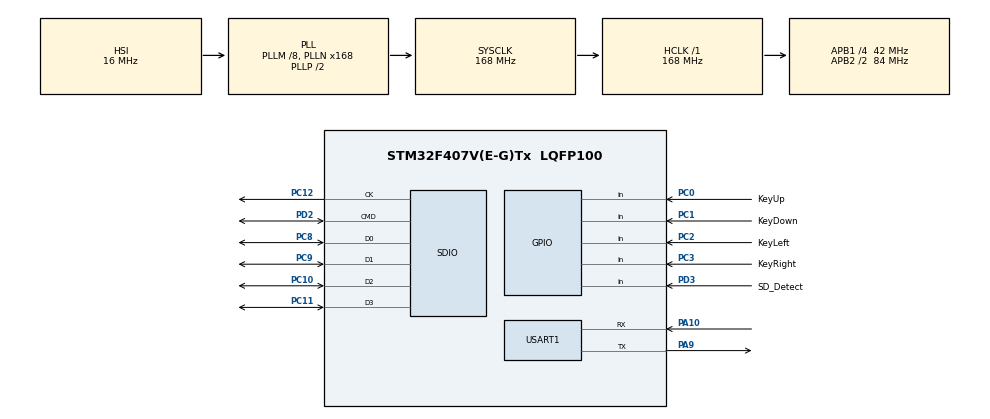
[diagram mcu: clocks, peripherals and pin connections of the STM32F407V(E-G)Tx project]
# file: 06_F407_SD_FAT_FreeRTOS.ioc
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Dma.Request0=SDIO_RX
Dma.Request1=SDIO_TX
Dma.SDIO_RX.0.Direction=DMA_PERIPH_TO_MEMORY
Dma.SDIO_RX.0.FIFOMode=DMA_FIFOMODE_ENABLE
Dma.SDIO_RX.0.FIFOThreshold=DMA_FIFO_THRESHOLD_FULL
Dma.SDIO_RX.0.Instance=DMA2_Stream3
Dma.SDIO_RX.0.MemBurst=DMA_MBURST_INC4
Dma.SDIO_RX.0.MemDataAlignment=DMA_MDATAALIGN_WORD
Dma.SDIO_RX.0.MemInc=DMA_MINC_ENABLE
Dma.SDIO_RX.0.Mode=DMA_PFCTRL
Dma.SDIO_RX.0.PeriphBurst=DMA_PBURST_INC4
Dma.SDIO_RX.0.PeriphDataAlignment=DMA_PDATAALIGN_WORD
Dma.SDIO_RX.0.PeriphInc=DMA_PINC_DISABLE
Dma.SDIO_RX.0.Priority=DMA_PRIORITY_LOW
Dma.SDIO_TX.1.Direction=DMA_MEMORY_TO_PERIPH
Dma.SDIO_TX.1.FIFOMode=DMA_FIFOMODE_ENABLE
Dma.SDIO_TX.1.FIFOThreshold=DMA_FIFO_THRESHOLD_FULL
Dma.SDIO_TX.1.Instance=DMA2_Stream6
Dma.SDIO_TX.1.MemBurst=DMA_MBURST_INC4
Dma.SDIO_TX.1.MemDataAlignment=DMA_MDATAALIGN_WORD
Dma.SDIO_TX.1.MemInc=DMA_MINC_ENABLE
Dma.SDIO_TX.1.Mode=DMA_PFCTRL
Dma.SDIO_TX.1.PeriphBurst=DMA_PBURST_INC4
Dma.SDIO_TX.1.PeriphDataAlignment=DMA_PDATAALIGN_WORD
Dma.SDIO_TX.1.PeriphInc=DMA_PINC_DISABLE
Dma.SDIO_TX.1.Priority=DMA_PRIORITY_LOW
FATFS._CODE_PAGE=936
FATFS._USE_LFN=3
FATFS._USE_MUTEX=1
FREERTOS.Tasks01=TaskMain,24,1024,APP_TaskMain,Default,NULL,Dynamic,NULL,NULL
Mcu.Family=STM32F4
Mcu.Name=STM32F407V(E-G)Tx
Mcu.Package=LQFP100
NVIC.DMA2_Stream3_IRQn=true\:6\:0\:true\:false\:true\:true\:false\:true\:true
NVIC.DMA2_Stream6_IRQn=true\:6\:0\:true\:false\:true\:true\:false\:true\:true
NVIC.PriorityGroup=NVIC_PRIORITYGROUP_4
NVIC.SDIO_IRQn=true\:5\:0\:false\:false\:true\:true\:true\:true\:true
NVIC.TIM6_DAC_IRQn=true\:15\:0\:false\:false\:true\:false\:false\:true\:true
NVIC.TimeBase=TIM6_DAC_IRQn
NVIC.TimeBaseIP=TIM6
PA10.Mode=Asynchronous
PA10.Signal=USART1_RX
PA13.Mode=Serial_Wire
PA13.Signal=SYS_JTMS-SWDIO
PA14.Mode=Serial_Wire
PA14.Signal=SYS_JTCK-SWCLK
PA9.Mode=Asynchronous
PA9.Signal=USART1_TX
PC0.GPIO_Label=KeyUp
PC0.GPIO_PuPd=GPIO_PULLUP
PC0.Signal=GPIO_Input
PC1.GPIO_Label=KeyDown
PC1.GPIO_PuPd=GPIO_PULLUP
PC1.Signal=GPIO_Input
PC10.Mode=SD_4_bits_Wide_bus
PC10.Signal=SDIO_D2
PC11.Mode=SD_4_bits_Wide_bus
PC11.Signal=SDIO_D3
PC12.Mode=SD_4_bits_Wide_bus
PC12.Signal=SDIO_CK
PC14-OSC32_IN.Mode=LSE-External-Oscillator
PC14-OSC32_IN.Signal=RCC_OSC32_IN
PC15-OSC32_OUT.Mode=LSE-External-Oscillator
PC15-OSC32_OUT.Signal=RCC_OSC32_OUT
PC2.GPIO_Label=KeyLeft
PC2.GPIO_PuPd=GPIO_PULLUP
PC2.Signal=GPIO_Input
PC3.GPIO_Label=KeyRight
PC3.GPIO_PuPd=GPIO_PULLUP
PC3.Signal=GPIO_Input
PC8.Mode=SD_4_bits_Wide_bus
PC8.Signal=SDIO_D0
PC9.Mode=SD_4_bits_Wide_bus
PC9.Signal=SDIO_D1
PD2.Mode=SD_4_bits_Wide_bus
PD2.Signal=SDIO_CMD
PD3.GPIO_Label=SD_Detect
PD3.GPIO_PuPd=GPIO_PULLUP
PD3.Signal=GPIO_Input
PH0-OSC_IN.Mode=HSE-External-Oscillator
PH0-OSC_IN.Signal=RCC_OSC_IN
PH1-OSC_OUT.Mode=HSE-External-Oscillator
PH1-OSC_OUT.Signal=RCC_OSC_OUT
ProjectManager.HeapSize=0x200
ProjectManager.StackSize=0x400
ProjectManager.TargetToolchain=MDK-ARM V5.32
RCC.48MHZClocksFreq_Value=48000000
RCC.AHBFreq_Value=168000000
RCC.APB1CLKDivider=RCC_HCLK_DIV4
RCC.APB1Freq_Value=42000000
RCC.APB1TimFreq_Value=84000000
RCC.APB2CLKDivider=RCC_HCLK_DIV2
RCC.APB2Freq_Value=84000000
RCC.APB2TimFreq_Value=168000000
RCC.CortexFreq_Value=168000000
RCC.HCLKFreq_Value=168000000
RCC.HSE_VALUE=25000000
RCC.HSI_VALUE=16000000
RCC.PLLM=8
RCC.PLLN=168
RCC.PLLQ=7
RCC.RCC_RTC_Clock_Source=RCC_RTCCLKSOURCE_LSE
RCC.SYSCLKFreq_VALUE=168000000
RCC.SYSCLKSource=RCC_SYSCLKSOURCE_PLLCLK
RCC.VCOOutputFreq_Value=336000000
RTC.Format=RTC_FORMAT_BIN
RTC.Hours=12
SDIO.ClockDiv=4
USART1.VirtualMode=VM_ASYNC
VP_FATFS_VS_SDIO.Mode=SDIO
VP_FREERTOS_VS_CMSIS_V2.Mode=CMSIS_V2
VP_RTC_VS_RTC_Activate.Mode=RTC_Enabled
VP_RTC_VS_RTC_Calendar.Mode=RTC_Calendar
VP_SYS_VS_tim6.Mode=TIM6
board=custom

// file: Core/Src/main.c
/* USER CODE BEGIN Header */
/**
  ******************************************************************************
  * @file           : main.c
  * @brief          : Main program body
  ******************************************************************************
  * @attention
  *
  * Copyright (c) 2025 STMicroelectronics.
  * All rights reserved.
  *
  * This software is licensed under terms that can be found in the LICENSE file
  * in the root directory of this software component.
  * If no LICENSE file comes with this software, it is provided AS-IS.
  *
  ******************************************************************************
  */
/* USER CODE END Header */
#include "main.h"
#include "cmsis_os.h"
#include "fatfs.h"

/* USER CODE BEGIN Includes */
#include "file_opera.h"
#include "keyled.h"
#include "sd_card.h"
/* USER CODE END Includes */

/* USER CODE BEGIN PD */

 #ifdef __GNUC__
     #define PUTCHAR_PROTOTYPE int _io_putchar(int ch)
 #else
     #define PUTCHAR_PROTOTYPE int fputc(int ch, FILE *f)
 #endif /* __GNUC__*/

 /******************************************************************
     *@brief  Retargets the C library printf  function to the USART.
     *@param  None
     *@retval None
 ******************************************************************/
 PUTCHAR_PROTOTYPE
 {
     HAL_UART_Transmit(&huart1, (uint8_t *)&ch,1,0xFFFF);
     return ch;
 }
/* USER CODE END PD */

RTC_HandleTypeDef hrtc;

SD_HandleTypeDef hsd;
DMA_HandleTypeDef hdma_sdio_rx;
DMA_HandleTypeDef hdma_sdio_tx;

UART_HandleTypeDef huart1;

/* Definitions for TaskMain */
osThreadId_t TaskMainHandle;
const osThreadAttr_t TaskMain_attributes = {
  .name = "TaskMain",
  .stack_size = 1024 * 4,
  .priority = (osPriority_t) osPriorityNormal,
};

void SystemClock_Config(void);
static void MX_GPIO_Init(void);
static void MX_DMA_Init(void);
static void MX_SDIO_SD_Init(void);
static void MX_USART1_UART_Init(void);
static void MX_RTC_Init(void);
void APP_TaskMain(void *argument);

int main(void)
{

  /* MCU Configuration--------------------------------------------------------*/

  /* Reset of all peripherals, Initializes the Flash interface and the Systick. */
  HAL_Init();

  /* Configure the system clock */
  SystemClock_Config();

  /* Initialize all configured peripherals */
  MX_GPIO_Init();
  MX_DMA_Init();
  MX_SDIO_SD_Init();
  MX_USART1_UART_Init();
  MX_RTC_Init();
  MX_FATFS_Init();
  /* USER CODE BEGIN 2 */
	printf("Demo06: FatFs on SD with RTOS\r\n");
  /* USER CODE END 2 */

  /* Init scheduler */
  osKernelInitialize();

  /* Create the thread(s) */
  /* creation of TaskMain */
  TaskMainHandle = osThreadNew(APP_TaskMain, NULL, &TaskMain_attributes);

  /* Start scheduler */
  osKernelStart();

  /* We should never get here as control is now taken by the scheduler */

  /* Infinite loop */
  while (1)
  {

  }
}

void SystemClock_Config(void)
{
  RCC_OscInitTypeDef RCC_OscInitStruct = {0};
  RCC_ClkInitTypeDef RCC_ClkInitStruct = {0};

  /** Configure the main internal regulator output voltage
  */
  __HAL_RCC_PWR_CLK_ENABLE();
  __HAL_PWR_VOLTAGESCALING_CONFIG(PWR_REGULATOR_VOLTAGE_SCALE1);

  /** Initializes the RCC Oscillators according to the specified parameters
  * in the RCC_OscInitTypeDef structure.
  */
  RCC_OscInitStruct.OscillatorType = RCC_OSCILLATORTYPE_HSI|RCC_OSCILLATORTYPE_LSE;
  RCC_OscInitStruct.LSEState = RCC_LSE_ON;
  RCC_OscInitStruct.HSIState = RCC_HSI_ON;
  RCC_OscInitStruct.HSICalibrationValue = RCC_HSICALIBRATION_DEFAULT;
  RCC_OscInitStruct.PLL.PLLState = RCC_PLL_ON;
  RCC_OscInitStruct.PLL.PLLSource = RCC_PLLSOURCE_HSI;
  RCC_OscInitStruct.PLL.PLLM = 8;
  RCC_OscInitStruct.PLL.PLLN = 168;
  RCC_OscInitStruct.PLL.PLLP = RCC_PLLP_DIV2;
  RCC_OscInitStruct.PLL.PLLQ = 7;
  if (HAL_RCC_OscConfig(&RCC_OscInitStruct) != HAL_OK)
  {
    Error_Handler();
  }

  /** Initializes the CPU, AHB and APB buses clocks
  */
  RCC_ClkInitStruct.ClockType = RCC_CLOCKTYPE_HCLK|RCC_CLOCKTYPE_SYSCLK
                              |RCC_CLOCKTYPE_PCLK1|RCC_CLOCKTYPE_PCLK2;
  RCC_ClkInitStruct.SYSCLKSource = RCC_SYSCLKSOURCE_PLLCLK;
  RCC_ClkInitStruct.AHBCLKDivider = RCC_SYSCLK_DIV1;
  RCC_ClkInitStruct.APB1CLKDivider = RCC_HCLK_DIV4;
  RCC_ClkInitStruct.APB2CLKDivider = RCC_HCLK_DIV2;

  if (HAL_RCC_ClockConfig(&RCC_ClkInitStruct, FLASH_LATENCY_5) != HAL_OK)
  {
    Error_Handler();
  }
}

static void MX_RTC_Init(void)
{

  RTC_TimeTypeDef sTime = {0};
  RTC_DateTypeDef sDate = {0};

  /** Initialize RTC Only
  */
  hrtc.Instance = RTC;
  hrtc.Init.HourFormat = RTC_HOURFORMAT_24;
  hrtc.Init.AsynchPrediv = 127;
  hrtc.Init.SynchPrediv = 255;
  hrtc.Init.OutPut = RTC_OUTPUT_DISABLE;
  hrtc.Init.OutPutPolarity = RTC_OUTPUT_POLARITY_HIGH;
  hrtc.Init.OutPutType = RTC_OUTPUT_TYPE_OPENDRAIN;
  if (HAL_RTC_Init(&hrtc) != HAL_OK)
  {
    Error_Handler();
  }

  /** Initialize RTC and set the Time and Date
  */
  sTime.Hours = 12;
  sTime.Minutes = 0;
  sTime.Seconds = 0;
  sTime.DayLightSaving = RTC_DAYLIGHTSAVING_NONE;
  sTime.StoreOperation = RTC_STOREOPERATION_RESET;
  if (HAL_RTC_SetTime(&hrtc, &sTime, RTC_FORMAT_BIN) != HAL_OK)
  {
    Error_Handler();
  }
  sDate.WeekDay = RTC_WEEKDAY_MONDAY;
  sDate.Month = RTC_MONTH_JANUARY;
  sDate.Date = 1;
  sDate.Year = 0;

  if (HAL_RTC_SetDate(&hrtc, &sDate, RTC_FORMAT_BIN) != HAL_OK)
  {
    Error_Handler();
  }

}

static void MX_SDIO_SD_Init(void)
{

  hsd.Instance = SDIO;
  hsd.Init.ClockEdge = SDIO_CLOCK_EDGE_RISING;
  hsd.Init.ClockBypass = SDIO_CLOCK_BYPASS_DISABLE;
  hsd.Init.ClockPowerSave = SDIO_CLOCK_POWER_SAVE_DISABLE;
  hsd.Init.BusWide = SDIO_BUS_WIDE_1B;
  hsd.Init.HardwareFlowControl = SDIO_HARDWARE_FLOW_CONTROL_DISABLE;
  hsd.Init.ClockDiv = 4;

}

static void MX_USART1_UART_Init(void)
{

  huart1.Instance = USART1;
  huart1.Init.BaudRate = 115200;
  huart1.Init.WordLength = UART_WORDLENGTH_8B;
  huart1.Init.StopBits = UART_STOPBITS_1;
  huart1.Init.Parity = UART_PARITY_NONE;
  huart1.Init.Mode = UART_MODE_TX_RX;
  huart1.Init.HwFlowCtl = UART_HWCONTROL_NONE;
  huart1.Init.OverSampling = UART_OVERSAMPLING_16;
  if (HAL_UART_Init(&huart1) != HAL_OK)
  {
    Error_Handler();
  }

}

static void MX_DMA_Init(void)
{

  /* DMA controller clock enable */
  __HAL_RCC_DMA2_CLK_ENABLE();

  /* DMA interrupt init */
  /* DMA2_Stream3_IRQn interrupt configuration */
  HAL_NVIC_SetPriority(DMA2_Stream3_IRQn, 6, 0);
  HAL_NVIC_EnableIRQ(DMA2_Stream3_IRQn);
  /* DMA2_Stream6_IRQn interrupt configuration */
  HAL_NVIC_SetPriority(DMA2_Stream6_IRQn, 6, 0);
  HAL_NVIC_EnableIRQ(DMA2_Stream6_IRQn);

}

static void MX_GPIO_Init(void)
{
  GPIO_InitTypeDef GPIO_InitStruct = {0};

  /* GPIO Ports Clock Enable */
  __HAL_RCC_GPIOC_CLK_ENABLE();
  __HAL_RCC_GPIOH_CLK_ENABLE();
  __HAL_RCC_GPIOA_CLK_ENABLE();
  __HAL_RCC_GPIOD_CLK_ENABLE();

  /*Configure GPIO pins : KeyUp_Pin KeyDown_Pin KeyLeft_Pin KeyRight_Pin */
  GPIO_InitStruct.Pin = KeyUp_Pin|KeyDown_Pin|KeyLeft_Pin|KeyRight_Pin;
  GPIO_InitStruct.Mode = GPIO_MODE_INPUT;
  GPIO_InitStruct.Pull = GPIO_PULLUP;
  HAL_GPIO_Init(GPIOC, &GPIO_InitStruct);

  /*Configure GPIO pin : SD_Detect_Pin */
  GPIO_InitStruct.Pin = SD_Detect_Pin;
  GPIO_InitStruct.Mode = GPIO_MODE_INPUT;
  GPIO_InitStruct.Pull = GPIO_PULLUP;
  HAL_GPIO_Init(SD_Detect_GPIO_Port, &GPIO_InitStruct);

}

/* USER CODE BEGIN 4 */
 BYTE workBuffer[4 * BLOCKSIZE];
/* USER CODE END 4 */

void APP_TaskMain(void *argument)
{
  /* USER CODE BEGIN 5 */
	printf("start\r\n");
    if (f_mount(&SDFatFS, "0:", 1) == FR_OK)
	{
        printf("FatFs is mounted, OK\r\n");  // 替换LCD显示为串口打印
    } else {
        printf("No file system, to format\r\n");
    }

    // 打印菜单提示（对应原LCD的菜单行）
    printf("[1] KeyUp    = Format SD Card\r\n");
    printf("[2] KeyLeft  = Create files\r\n");
    printf("[3] KeyRight = List all entries\r\n");
    printf("[4] KeyDown  = Delete files\r\n");

    KEYS waitKey;  // 按键变量声明
  /* Infinite loop */
  for(;;)
  {
		waitKey = ScanPressedKey(50);
		if (waitKey == KEY_NONE)
		{
			vTaskDelay(10);
			continue;
		}
		if (waitKey == KEY_UP)
		{
			printf("Formatting (10sec)...\r\n");
			DWORD clusterSize = 0;

			if (f_mkfs("0:", FM_FAT32, clusterSize, workBuffer, 4 * BLOCKSIZE) == FR_OK)
			{
				printf("Format OK, to reset\r\n");
			}
			else
			{
				printf("Format fail, to reset\r\n");
			}
		}
		else if (waitKey == KEY_LEFT)
		{
			fatTest_WriteTXTFile("RTOS_readme.txt", 2025, 1, 1);
			fatTest_WriteBinFile("RTOS_ADC1000.dat", 50, 200);
			f_mkdir("0:/RTOS_SubDir");
		}
		else if (waitKey == KEY_RIGHT)
		{
			fatTest_ScanDir("0:/");
		}
		else if (waitKey == KEY_DOWN)
		{
			fatTest_RemoveAll();
		}
		printf("Reselect menu item or reset\r\n");
		vTaskDelay(500);
	}

  /* USER CODE END 5 */
}

void HAL_TIM_PeriodElapsedCallback(TIM_HandleTypeDef *htim)
{
  if (htim->Instance == TIM6)
  {
    HAL_IncTick();
  }
}

void Error_Handler(void)
{
  __disable_irq();
  while (1)
  {
  }
}
